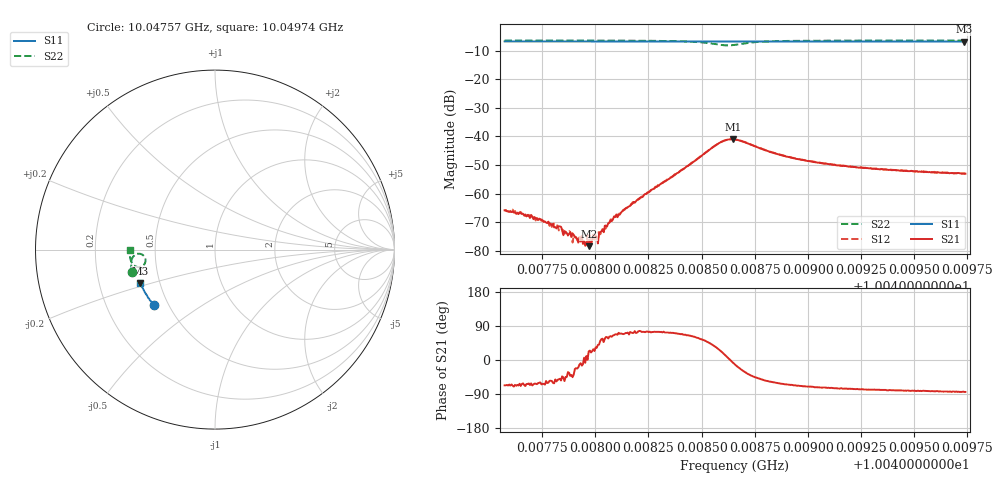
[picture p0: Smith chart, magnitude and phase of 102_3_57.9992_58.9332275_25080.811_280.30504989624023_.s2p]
#  HZ  S  RI  R  50.00
! Rohde & Schwarz Vector Network Analyzer
! Rohde-Schwarz,ZNB20-2Port,1311601062101988,3.16
! Created: UTC 3/21/2024, 12:54:51 AM
! freq[Hz]  re:S11  im:S11  re:S21  im:S21  re:S12  im:S12  re:S22  im:S22
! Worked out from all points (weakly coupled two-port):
!   401 points, 10.04757 GHz to 10.04974 GHz, reference 50 ohm
!   highest |S21| = -40.97 dB at 10.04865 GHz (marker M1); lowest = -78.4 dB at 10.04797 GHz (marker M2)
!   lowest |S11| = -6.8 dB at 10.04974 GHz (marker M3), VSWR 2.68, Z = 19.4 - j9.18 ohm
!   |S11| at or under -10 dB: nowhere
!   |S22| runs from -8.2 to -6.4 dB; largest |S21 - S12| = 0.00061
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1.0047573e10  -0.3413 -0.3086  0.000201 -0.000469  0.000227 -0.000437  -0.4611 -0.1234
1.0047692e10  -0.3463 -0.3024  0.000151 -0.000342  0.000194 -0.000325  -0.4629 -0.1147
1.0047811e10  -0.3513 -0.2962  0.000162 -0.000202  0.000179 -0.000209  -0.4645 -0.106
1.0047844e10  -0.3526 -0.2945  0.000164 -0.000153  0.000186 -0.000146  -0.4648 -0.1033
1.0047876e10  -0.3539 -0.2927  0.000165 -0.000111  0.000176 -0.000135  -0.4654 -0.1006
1.0047903e10  -0.3551 -0.2912  0.000161 -7.03e-05  0.000162 -6.24e-05  -0.4656 -0.0985
1.0047936e10  -0.3563 -0.2897  0.000177 -4.69e-05  0.000158 1.56e-05  -0.4659 -0.0958
1.0047947e10  -0.3569 -0.289  0.000147 1.56e-05  0.000142 2.01e-05  -0.466 -0.0948
1.0047969e10  -0.3576 -0.2879  0.000111 4.57e-05  0.000131 3.48e-05  -0.4663 -0.0929
1.0047996e10  -0.3587 -0.2863  0.000167 7.31e-05  0.000128 8.85e-05  -0.4665 -0.0908
1.0048017e10  -0.3596 -0.2853  0.000153 0.000132  0.000135 0.000164  -0.4665 -0.089
1.0048034e10  -0.3603 -0.2845  0.000132 0.000198  0.00013 0.000161  -0.4669 -0.0875
1.0048088e10  -0.3623 -0.2815  0.000165 0.000364  0.000132 0.000337  -0.467 -0.0826
1.0048299e10  -0.3705 -0.2701  0.000377 0.00134  0.000295 0.00135  -0.4653 -0.0595
1.0048576e10  -0.3801 -0.2544  0.00636 0.0037  0.00617 0.00412  -0.4056 -0.0278
1.0048646e10  -0.3822 -0.2508  0.00889 -0.001  0.00895 -0.000394  -0.3888 -0.0721
1.0048657e10  -0.3825 -0.2505  0.00862 -0.00183  0.00879 -0.00125  -0.3923 -0.0793
1.0048858e10  -0.3899 -0.2394  0.00238 -0.00425  0.00266 -0.00415  -0.458 -0.0811
1.0049021e10  -0.3952 -0.2298  0.00121 -0.00343  0.00138 -0.00335  -0.469 -0.0602
1.0049384e10  -0.4064 -0.2085  0.000483 -0.00255  0.000617 -0.00254  -0.4749 -0.027
1.0049736e10  -0.4159 -0.1873  0.000225 -0.00221  0.000352 -0.00221  -0.4761 -0.000337
1.0049742e10  -0.4161 -0.187  0.00022 -0.00222  0.000353 -0.00223  -0.4761 0.00018
